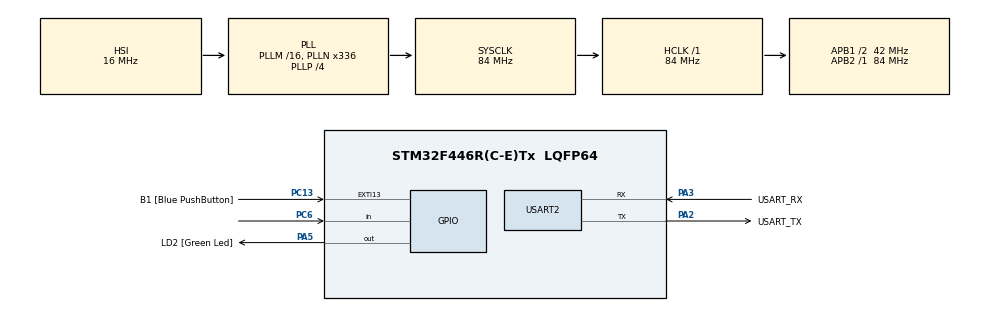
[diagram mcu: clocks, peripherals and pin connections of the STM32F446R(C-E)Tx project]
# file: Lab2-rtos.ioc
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ADC1.Channel-0\#ChannelRegularConversion=ADC_CHANNEL_TEMPSENSOR
ADC1.NbrOfConversionFlag=1
ADC1.Rank-0\#ChannelRegularConversion=1
ADC1.SamplingTime-0\#ChannelRegularConversion=ADC_SAMPLETIME_3CYCLES
ADC1.master=1
FREERTOS.Tasks01=blink01,0,128,StartBlink01,Default,NULL,Dynamic,NULL,NULL
FREERTOS.Timers01=periodicTimer,PTCallback,osTimerPeriodic,Default,NULL,Dynamic,NULL
FREERTOS.configTIMER_TASK_PRIORITY=6
FREERTOS.configUSE_NEWLIB_REENTRANT=1
FREERTOS.configUSE_TIMERS=0
Mcu.Family=STM32F4
Mcu.Name=STM32F446R(C-E)Tx
Mcu.Package=LQFP64
NVIC.EXTI15_10_IRQn=true\:5\:0\:false\:false\:true\:true\:true\:true\:true
NVIC.PriorityGroup=NVIC_PRIORITYGROUP_4
NVIC.TIM1_UP_TIM10_IRQn=true\:15\:0\:false\:false\:true\:false\:false\:true\:true
NVIC.TIM2_IRQn=true\:5\:0\:false\:false\:true\:true\:true\:true\:true
NVIC.TimeBase=TIM1_UP_TIM10_IRQn
NVIC.TimeBaseIP=TIM1
PA13.GPIO_Label=TMS
PA13.Mode=Serial_Wire
PA13.Signal=SYS_JTMS-SWDIO
PA14.GPIO_Label=TCK
PA14.Mode=Serial_Wire
PA14.Signal=SYS_JTCK-SWCLK
PA2.GPIO_Label=USART_TX
PA2.Mode=Asynchronous
PA2.Signal=USART2_TX
PA3.GPIO_Label=USART_RX
PA3.Mode=Asynchronous
PA3.Signal=USART2_RX
PA5.GPIO_Label=LD2 [Green Led]
PA5.Signal=GPIO_Output
PB3.GPIO_Label=SWO
PB3.Signal=SYS_JTDO-SWO
PC13.GPIO_Label=B1 [Blue PushButton]
PC13.GPIO_ModeDefaultEXTI=GPIO_MODE_IT_FALLING
PC13.Signal=GPXTI13
PC14-OSC32_IN.Mode=LSE-External-Oscillator
PC14-OSC32_IN.Signal=RCC_OSC32_IN
PC15-OSC32_OUT.Mode=LSE-External-Oscillator
PC15-OSC32_OUT.Signal=RCC_OSC32_OUT
PC6.Signal=GPIO_Input
PH0-OSC_IN.Mode=HSE-External-Oscillator
PH0-OSC_IN.Signal=RCC_OSC_IN
PH1-OSC_OUT.Mode=HSE-External-Oscillator
PH1-OSC_OUT.Signal=RCC_OSC_OUT
ProjectManager.HeapSize=0x200
ProjectManager.StackSize=0x400
ProjectManager.TargetToolchain=STM32CubeIDE
RCC.48MHZClocksFreq_Value=84000000
RCC.AHBFreq_Value=84000000
RCC.APB1CLKDivider=RCC_HCLK_DIV2
RCC.APB1Freq_Value=42000000
RCC.APB1TimFreq_Value=84000000
RCC.APB2Freq_Value=84000000
RCC.APB2TimFreq_Value=84000000
RCC.CortexFreq_Value=84000000
RCC.FLatency-AdvancedSettings=FLASH_LATENCY_2
RCC.HCLKFreq_Value=84000000
RCC.HSE_VALUE=8000000
RCC.HSI_VALUE=16000000
RCC.PLLN=336
RCC.PLLP=RCC_PLLP_DIV4
RCC.SYSCLKFreq_VALUE=84000000
RCC.SYSCLKSource=RCC_SYSCLKSOURCE_PLLCLK
RCC.USBFreq_Value=168000000
RCC.VCOOutputFreq_Value=336000000
TIM2.Period=10000
TIM2.Prescaler=7999
USART2.VirtualMode=VM_ASYNC
VP_ADC1_TempSens_Input.Mode=IN-TempSens
VP_FREERTOS_VS_CMSIS_V1.Mode=CMSIS_V1
VP_SYS_VS_tim1.Mode=TIM1
VP_TIM2_VS_ClockSourceINT.Mode=Internal
board=NUCLEO-F446RE

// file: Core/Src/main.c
/* USER CODE BEGIN Header */
/**
  ******************************************************************************
  * @file           : main.c
  * @brief          : Main program body
  ******************************************************************************
  * @attention
  *
  * Copyright (c) 2023 STMicroelectronics.
  * All rights reserved.
  *
  * This software is licensed under terms that can be found in the LICENSE file
  * in the root directory of this software component.
  * If no LICENSE file comes with this software, it is provided AS-IS.
  *
  ******************************************************************************
  */
/* USER CODE END Header */
#include "main.h"
#include "cmsis_os.h"

/* USER CODE BEGIN Includes */

//Initialization of global varaibles neede for code to work.
//Default blinking frequency
uint16_t blink_freq = 10;
//default period of time - later automatically calculated basing on freq
uint16_t period = 50;
//varaible of button state, changed to tru only by IRQ
uint8_t button_pressed = 0;

float temperature = 0;
/* USER CODE END Includes */

ADC_HandleTypeDef hadc1;

TIM_HandleTypeDef htim2;

UART_HandleTypeDef huart2;

osThreadId blink01Handle;
osTimerId periodicTimerHandle;

void SystemClock_Config(void);
static void MX_GPIO_Init(void);
static void MX_USART2_UART_Init(void);
static void MX_ADC1_Init(void);
static void MX_TIM2_Init(void);
void StartBlink01(void const * argument);
void PTCallback(void const * argument);

int main(void)
{

  /* MCU Configuration--------------------------------------------------------*/

  /* Reset of all peripherals, Initializes the Flash interface and the Systick. */
  HAL_Init();

  /* Configure the system clock */
  SystemClock_Config();

  /* Initialize all configured peripherals */
  MX_GPIO_Init();
  MX_USART2_UART_Init();
  MX_ADC1_Init();
  MX_TIM2_Init();
  /* USER CODE BEGIN 2 */

  HAL_TIM_Base_Start_IT(&htim2);

  /* USER CODE END 2 */

  /* Create the timer(s) */
  /* definition and creation of periodicTimer */
  osTimerDef(periodicTimer, PTCallback);
  periodicTimerHandle = osTimerCreate(osTimer(periodicTimer), osTimerPeriodic, NULL);

  /* Create the thread(s) */
  /* definition and creation of blink01 */
  osThreadDef(blink01, StartBlink01, osPriorityNormal, 0, 128);
  blink01Handle = osThreadCreate(osThread(blink01), NULL);

  /* Start scheduler */
  osKernelStart();

  /* We should never get here as control is now taken by the scheduler */
  /* Infinite loop */
  while (1)
  {

  }
}

void SystemClock_Config(void)
{
  RCC_OscInitTypeDef RCC_OscInitStruct = {0};
  RCC_ClkInitTypeDef RCC_ClkInitStruct = {0};

  /** Configure the main internal regulator output voltage
  */
  __HAL_RCC_PWR_CLK_ENABLE();
  __HAL_PWR_VOLTAGESCALING_CONFIG(PWR_REGULATOR_VOLTAGE_SCALE3);

  /** Initializes the RCC Oscillators according to the specified parameters
  * in the RCC_OscInitTypeDef structure.
  */
  RCC_OscInitStruct.OscillatorType = RCC_OSCILLATORTYPE_HSI;
  RCC_OscInitStruct.HSIState = RCC_HSI_ON;
  RCC_OscInitStruct.HSICalibrationValue = RCC_HSICALIBRATION_DEFAULT;
  RCC_OscInitStruct.PLL.PLLState = RCC_PLL_ON;
  RCC_OscInitStruct.PLL.PLLSource = RCC_PLLSOURCE_HSI;
  RCC_OscInitStruct.PLL.PLLM = 16;
  RCC_OscInitStruct.PLL.PLLN = 336;
  RCC_OscInitStruct.PLL.PLLP = RCC_PLLP_DIV4;
  RCC_OscInitStruct.PLL.PLLQ = 2;
  RCC_OscInitStruct.PLL.PLLR = 2;
  if (HAL_RCC_OscConfig(&RCC_OscInitStruct) != HAL_OK)
  {
    Error_Handler();
  }

  /** Initializes the CPU, AHB and APB buses clocks
  */
  RCC_ClkInitStruct.ClockType = RCC_CLOCKTYPE_HCLK|RCC_CLOCKTYPE_SYSCLK
                              |RCC_CLOCKTYPE_PCLK1|RCC_CLOCKTYPE_PCLK2;
  RCC_ClkInitStruct.SYSCLKSource = RCC_SYSCLKSOURCE_PLLCLK;
  RCC_ClkInitStruct.AHBCLKDivider = RCC_SYSCLK_DIV1;
  RCC_ClkInitStruct.APB1CLKDivider = RCC_HCLK_DIV2;
  RCC_ClkInitStruct.APB2CLKDivider = RCC_HCLK_DIV1;

  if (HAL_RCC_ClockConfig(&RCC_ClkInitStruct, FLASH_LATENCY_2) != HAL_OK)
  {
    Error_Handler();
  }
}

static void MX_ADC1_Init(void)
{

  ADC_ChannelConfTypeDef sConfig = {0};

  /** Configure the global features of the ADC (Clock, Resolution, Data Alignment and number of conversion)
  */
  hadc1.Instance = ADC1;
  hadc1.Init.ClockPrescaler = ADC_CLOCK_SYNC_PCLK_DIV4;
  hadc1.Init.Resolution = ADC_RESOLUTION_12B;
  hadc1.Init.ScanConvMode = DISABLE;
  hadc1.Init.ContinuousConvMode = DISABLE;
  hadc1.Init.DiscontinuousConvMode = DISABLE;
  hadc1.Init.ExternalTrigConvEdge = ADC_EXTERNALTRIGCONVEDGE_NONE;
  hadc1.Init.ExternalTrigConv = ADC_SOFTWARE_START;
  hadc1.Init.DataAlign = ADC_DATAALIGN_RIGHT;
  hadc1.Init.NbrOfConversion = 1;
  hadc1.Init.DMAContinuousRequests = DISABLE;
  hadc1.Init.EOCSelection = ADC_EOC_SINGLE_CONV;
  if (HAL_ADC_Init(&hadc1) != HAL_OK)
  {
    Error_Handler();
  }

  /** Configure for the selected ADC regular channel its corresponding rank in the sequencer and its sample time.
  */
  sConfig.Channel = ADC_CHANNEL_TEMPSENSOR;
  sConfig.Rank = 1;
  sConfig.SamplingTime = ADC_SAMPLETIME_3CYCLES;
  if (HAL_ADC_ConfigChannel(&hadc1, &sConfig) != HAL_OK)
  {
    Error_Handler();
  }

}

static void MX_TIM2_Init(void)
{

  TIM_ClockConfigTypeDef sClockSourceConfig = {0};
  TIM_MasterConfigTypeDef sMasterConfig = {0};

  htim2.Instance = TIM2;
  htim2.Init.Prescaler = 7999;
  htim2.Init.CounterMode = TIM_COUNTERMODE_UP;
  htim2.Init.Period = 10000;
  htim2.Init.ClockDivision = TIM_CLOCKDIVISION_DIV1;
  htim2.Init.AutoReloadPreload = TIM_AUTORELOAD_PRELOAD_DISABLE;
  if (HAL_TIM_Base_Init(&htim2) != HAL_OK)
  {
    Error_Handler();
  }
  sClockSourceConfig.ClockSource = TIM_CLOCKSOURCE_INTERNAL;
  if (HAL_TIM_ConfigClockSource(&htim2, &sClockSourceConfig) != HAL_OK)
  {
    Error_Handler();
  }
  sMasterConfig.MasterOutputTrigger = TIM_TRGO_RESET;
  sMasterConfig.MasterSlaveMode = TIM_MASTERSLAVEMODE_DISABLE;
  if (HAL_TIMEx_MasterConfigSynchronization(&htim2, &sMasterConfig) != HAL_OK)
  {
    Error_Handler();
  }

}

static void MX_USART2_UART_Init(void)
{

  huart2.Instance = USART2;
  huart2.Init.BaudRate = 115200;
  huart2.Init.WordLength = UART_WORDLENGTH_8B;
  huart2.Init.StopBits = UART_STOPBITS_1;
  huart2.Init.Parity = UART_PARITY_NONE;
  huart2.Init.Mode = UART_MODE_TX_RX;
  huart2.Init.HwFlowCtl = UART_HWCONTROL_NONE;
  huart2.Init.OverSampling = UART_OVERSAMPLING_16;
  if (HAL_UART_Init(&huart2) != HAL_OK)
  {
    Error_Handler();
  }

}

static void MX_GPIO_Init(void)
{
  GPIO_InitTypeDef GPIO_InitStruct = {0};

  /* GPIO Ports Clock Enable */
  __HAL_RCC_GPIOC_CLK_ENABLE();
  __HAL_RCC_GPIOH_CLK_ENABLE();
  __HAL_RCC_GPIOA_CLK_ENABLE();
  __HAL_RCC_GPIOB_CLK_ENABLE();

  /*Configure GPIO pin Output Level */
  HAL_GPIO_WritePin(LD2_GPIO_Port, LD2_Pin, GPIO_PIN_RESET);

  /*Configure GPIO pin : B1_Pin */
  GPIO_InitStruct.Pin = B1_Pin;
  GPIO_InitStruct.Mode = GPIO_MODE_IT_FALLING;
  GPIO_InitStruct.Pull = GPIO_NOPULL;
  HAL_GPIO_Init(B1_GPIO_Port, &GPIO_InitStruct);

  /*Configure GPIO pin : LD2_Pin */
  GPIO_InitStruct.Pin = LD2_Pin;
  GPIO_InitStruct.Mode = GPIO_MODE_OUTPUT_PP;
  GPIO_InitStruct.Pull = GPIO_NOPULL;
  GPIO_InitStruct.Speed = GPIO_SPEED_FREQ_LOW;
  HAL_GPIO_Init(LD2_GPIO_Port, &GPIO_InitStruct);

  /*Configure GPIO pin : PC6 */
  GPIO_InitStruct.Pin = GPIO_PIN_6;
  GPIO_InitStruct.Mode = GPIO_MODE_INPUT;
  GPIO_InitStruct.Pull = GPIO_NOPULL;
  HAL_GPIO_Init(GPIOC, &GPIO_InitStruct);

  /* EXTI interrupt init*/
  HAL_NVIC_SetPriority(EXTI15_10_IRQn, 5, 0);
  HAL_NVIC_EnableIRQ(EXTI15_10_IRQn);

}

/* USER CODE BEGIN 4 */
void HAL_GPIO_EXTI_Callback(uint16_t GPIO_Pin)
{
	//if callback was called by gpio pin corresponding to button varaible state will change
  if(GPIO_Pin == B1_Pin) {
	  button_pressed = 1;

  }
}
/* USER CODE END 4 */

void StartBlink01(void const * argument)
{
  /* USER CODE BEGIN 5 */

  /* Infinite loop */
  for(;;)
  {
	  //This code check if the temperature of microcotroller is above 22 celsius deegress
	  //if it is - it turns on green LED
	  //it can be easilly checked by touching microcontroller with finger to heat it up.
	  // value of temperature is get and calculated in the hardware timer IRQ
	  if(temperature > 22.0)
		  HAL_GPIO_WritePin(LD2_GPIO_Port, LD2_Pin,GPIO_PIN_SET);
	  else
		  HAL_GPIO_WritePin(LD2_GPIO_Port, LD2_Pin,GPIO_PIN_RESET);
	  // calculate period in loop to adjust when varaible blink_freq is changed.
	  //period = 1000/(blink_freq*2);
	  //toggle LED
float test = temperature;
	  // delay for rtos - when to call function next time. It does not block running of uC.
	  osDelay(1000);
  }
  osThreadTerminate(NULL);
  /* USER CODE END 5 */
}

/* PTCallback function */
void PTCallback(void const * argument)
{
}

void HAL_TIM_PeriodElapsedCallback(TIM_HandleTypeDef *htim)
{
  if (htim->Instance == TIM1) {
    HAL_IncTick();
  }
}

void Error_Handler(void)
{
  __disable_irq();
  while (1)
  {
  }
}
